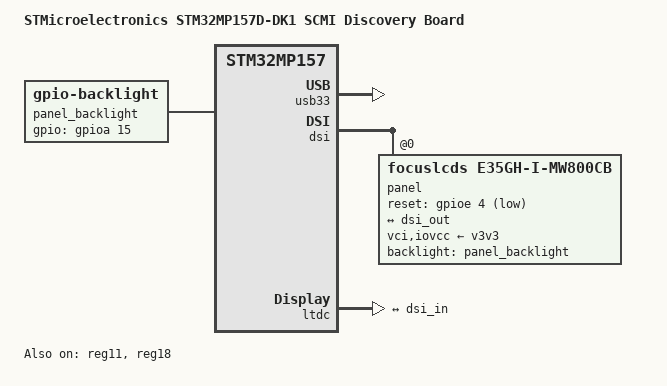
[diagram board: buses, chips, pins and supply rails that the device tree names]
// SPDX-License-Identifier: (GPL-2.0+ OR BSD-3-Clause)
/*
 * Copyright (C) STMicroelectronics 2022 - All Rights Reserved
 * Author: Alexandre Torgue <alexandre.torgue@foss.st.com> for STMicroelectronics.
 */

/dts-v1/;

#include "stm32mp157d-dk1.dts"
#include "stm32mp15-scmi.dtsi"

/ {
	model = "STMicroelectronics STM32MP157D-DK1 SCMI Discovery Board";
	compatible = "st,stm32mp157d-dk1-scmi", "st,stm32mp157d-dk1", "st,stm32mp157";
	
	reserved-memory {
		optee@de000000 {
			reg = <0xde000000 0x2000000>;
			no-map;
		};
	};

	panel_backlight: panel-backlight {
		compatible = "gpio-backlight";
		gpios = <&gpioa 15 GPIO_ACTIVE_HIGH>;
		default-on;
	};
};

&cpu0 {
	clocks = <&scmi_clk CK_SCMI_MPU>;
};

&cpu1 {
	clocks = <&scmi_clk CK_SCMI_MPU>;
};

&reg11 {
	status = "okay";
};

&reg18 {
	status = "okay";
};

&usb33 {
	status = "okay";
};

&scmi_voltd {
	status = "disabled";
};

&dsi {
	phy-dsi-supply = <&reg18>;
	clocks = <&rcc DSI>, <&scmi_clk CK_SCMI_HSE>, <&rcc DSI_PX>;
};

&dsi {
	#address-cells = <1>;
	#size-cells = <0>;
	status = "okay";

	panel@0 {
		compatible = "focuslcds,e35gh-i-mw800cb", "ilitek,ili9488";
		reg = <0>;
		vci-supply = <&v3v3>;
		iovcc-supply = <&v3v3>;
		reset-gpios = <&gpioe 4 GPIO_ACTIVE_LOW>;
		backlight = <&panel_backlight>;

		port {
			panel_in: endpoint {
				remote-endpoint = <&dsi_out>;
			};
		};
	};
};

&dsi_in {
	remote-endpoint = <&ltdc_ep1_out>;
};

&dsi_out {
	remote-endpoint = <&panel_in>;
};

&ltdc {
	status = "okay";

	port {
		#address-cells = <1>;
		#size-cells = <0>;

		ltdc_ep1_out: endpoint@1 {
			reg = <1>;
			remote-endpoint = <&dsi_in>;
		};
	};
};

&gpioa { clocks = <&scmi_clk CK_SCMI_GPIOA>; };
&gpiob { clocks = <&scmi_clk CK_SCMI_GPIOB>; };
&gpioc { clocks = <&scmi_clk CK_SCMI_GPIOC>; };
&gpiod { clocks = <&scmi_clk CK_SCMI_GPIOD>; };
&gpioe { clocks = <&scmi_clk CK_SCMI_GPIOE>; };
&gpiof { clocks = <&scmi_clk CK_SCMI_GPIOF>; };
&gpiog { clocks = <&scmi_clk CK_SCMI_GPIOG>; };
&gpioh { clocks = <&scmi_clk CK_SCMI_GPIOH>; };
&gpioi { clocks = <&scmi_clk CK_SCMI_GPIOI>; };
&gpioj { clocks = <&scmi_clk CK_SCMI_GPIOJ>; };
&gpiok { clocks = <&scmi_clk CK_SCMI_GPIOK>; };

&gpioz {
	clocks = <&scmi_clk CK_SCMI_GPIOZ>;
};

&hash1 {
	clocks = <&scmi_clk CK_SCMI_HASH1>;
	resets = <&scmi_reset RST_SCMI_HASH1>;
};

&i2c4 {
	clocks = <&scmi_clk CK_SCMI_I2C4>;
	resets = <&scmi_reset RST_SCMI_I2C4>;
};

/ {
  	arm_wdt: watchdog {
  		compatible = "arm,smc-wdt";
  		arm,smc-id = <0xbc000000>;
  		timeout-sec = <32>;
  		status = "okay";
  	};
  };

&iwdg2 {
	status = "disabled";
};

&mdma1 {
	resets = <&scmi_reset RST_SCMI_MDMA>;
};

&m4_rproc {
	/delete-property/ st,syscfg-holdboot;
	resets = <&scmi_reset RST_SCMI_MCU>,
		 <&scmi_reset RST_SCMI_MCU_HOLD_BOOT>;
	reset-names = "mcu_rst", "hold_boot";
};

&optee {
	interrupt-parent = <&intc>;
	interrupts = <GIC_PPI 15 (GIC_CPU_MASK_SIMPLE(2) | IRQ_TYPE_LEVEL_LOW)>;
};

&rcc {
	compatible = "st,stm32mp1-rcc-secure", "syscon";
	clock-names = "hse", "hsi", "csi", "lse", "lsi";
	clocks = <&scmi_clk CK_SCMI_HSE>,
		 <&scmi_clk CK_SCMI_HSI>,
		 <&scmi_clk CK_SCMI_CSI>,
		 <&scmi_clk CK_SCMI_LSE>,
		 <&scmi_clk CK_SCMI_LSI>;
};

&rng1 {
	clocks = <&scmi_clk CK_SCMI_RNG1>;
	resets = <&scmi_reset RST_SCMI_RNG1>;
};

&rtc {
	clocks = <&scmi_clk CK_SCMI_RTCAPB>, <&scmi_clk CK_SCMI_RTC>;
};

&usbotg_hs {
	usb33d-supply = <&usb33>;
};

&usbphyc {
	vdda1v1-supply = <&reg11>;
	vdda1v8-supply = <&reg18>;
};
